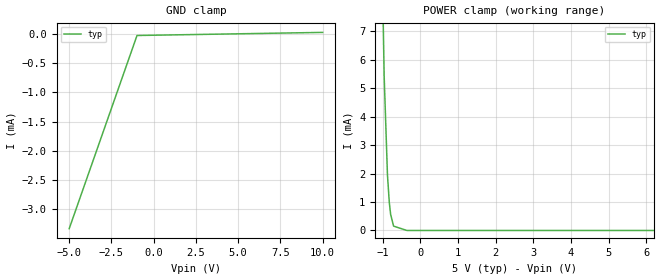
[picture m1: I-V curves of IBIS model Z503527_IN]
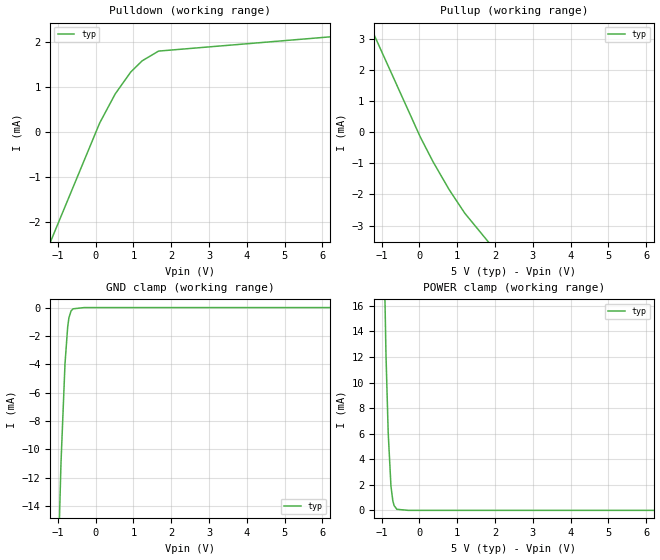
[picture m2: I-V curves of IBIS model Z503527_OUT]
| YOU ARE ONLY AUTHORIZED TO USE THIS SOFTWARE
| ACCORDING TO LICENSOR'S LICENSE RESTRICTIONS.
[IBIS Ver] 3.1
[File Name] mc14042bcl.ibs
[File Rev] 2.0
[Source] Measured and created by ICX Technology
[Date] Friday 7/14/00 9:07:52 AM
[Copyright]
| (C) COPYRIGHT 1993-2000
| MENTOR GRAPHICS CORPORATION
| ICX STANDARD LIBRARY, ICX PROJECT MODELING,
| ICX CUSTOM MODELING, ICX VENDOR MODEL
| ALL RIGHTS RESERVED.
| THE FOLLOWING ARE TRADEMARKS OR SERVICE MARKS OF
| MENTOR GRAPHICS CORPORATION:ICX (R), ICX STANDARD
| LIBRARY(R), ICX PROJECT MODELING(R), ICX CUSTOM
| MODELING(R), qualityIBIS(TM), MODELVIEWER(TM),
| AND MODELEDITOR(TM)
| ALL COPIES OF SOFTWARE, INCLUDING BUT NOT LIMITED TO
| ANY MODIFICATIONS, ENHANCEMENTS OR DERIVATIVE WORKS,
| MUST CONTAIN ALL MENTOR GRAPHICS CORPORATION'S
| NOTICES AND LEGENDS, INCLUDING THOSE EMBEDDED IN
| SOFTWARE AND THOSE AFFIXED TO SOFTWARE MEDIUM
| AND CONTAINER, AS RECEIVED FROM MENTOR GRAPHICS
| CORPORATION.
|  ZAP Model Builder 2.7
[Component] MC14042BCL
[Manufacturer] OnSemiconductor
[Package]
| variable   typ   min   max
R_pkg  .212ohms NA NA
L_pkg  4.758nH NA NA
C_pkg  1.944pF NA NA
[Pin] signal_name  model_name  R_pin  L_pin C_pin
1 Q3 Z503527_OUT .224 7.258n 2.683p
2 Q0 Z503527_OUT .216 5.258n 2.19p
3 _Q0 Z503527_OUT .208 3.758n 1.697p
4 D0 Z503527_IN .2 2.758n 1.204p
5 CLK Z503527_IN .2 2.758n 1.204p
6 PARITY Z503527_IN .208 3.758n 1.697p
7 D1 Z503527_IN .216 5.258n 2.19p
8 VSS GND .224 7.258n 2.683p
9 _Q1 Z503527_OUT .224 7.258n 2.683p
10 Q1 Z503527_OUT .216 5.258n 2.19p
11 Q2 Z503527_OUT .208 3.758n 1.697p
12 _Q2 Z503527_OUT .2 2.758n 1.204p
13 D2 Z503527_IN .2 2.758n 1.204p
14 D3 Z503527_IN .208 3.758n 1.697p
15 _Q3 Z503527_OUT .216 5.258n 2.19p
16 VDD POWER .224 7.258n 2.683p
| Models and submodels in the file (2): Z503527_IN (Input), Z503527_OUT (Output)
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| (C) COPYRIGHT 1993-2000
| MENTOR GRAPHICS CORPORATION
| ICX STANDARD LIBRARY, ICX PROJECT MODELING,
| ICX CUSTOM MODELING, ICX VENDOR MODEL
| ALL RIGHTS RESERVED.
| THE FOLLOWING ARE TRADEMARKS OR SERVICE MARKS OF
| MENTOR GRAPHICS CORPORATION:ICX (R), ICX STANDARD
| LIBRARY(R), ICX PROJECT MODELING(R), ICX CUSTOM
| MODELING(R), qualityIBIS(TM), MODELVIEWER(TM),
| AND MODELEDITOR(TM)
| ALL COPIES OF SOFTWARE, INCLUDING BUT NOT LIMITED TO
| ANY MODIFICATIONS, ENHANCEMENTS OR DERIVATIVE WORKS,
| MUST CONTAIN ALL MENTOR GRAPHICS CORPORATION'S
| NOTICES AND LEGENDS, INCLUDING THOSE EMBEDDED IN
| SOFTWARE AND THOSE AFFIXED TO SOFTWARE MEDIUM
| AND CONTAINER, AS RECEIVED FROM MENTOR GRAPHICS
| CORPORATION.
| Model Application Version 1.89 2/18/99.
[Model] Z503527_IN
Model_type Input
Vinl = 1.500V
Vinh = 3.500V
C_comp 4.000pF NA NA
| variable typ   min   max
[Voltage Range] 5.000V NA NA
[GND Clamp Reference] 0.000V NA NA
[POWER Clamp Reference] 5.000V NA NA
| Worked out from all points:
|   POWER clamp passes 1 mA (typ) near -0.82 V on its own axis
[GND Clamp]
-5V       -3.33mA    NA         NA
-986mV    -26.24uA   NA         NA
10V       26.74uA    NA         NA
[POWER Clamp]
-5V       571.5mA    NA         NA
-1.24V    32.36mA    NA         NA
-1.07V    13.78mA    NA         NA
-956mV    5.399mA    NA         NA
-869mV    1.95mA     NA         NA
-820mV    976.7uA    NA         NA
-785mV    566.3uA    NA         NA
-707mV    153.9uA    NA         NA
-353.5mV  0A         NA         NA
10V       0A         NA         NA
| (C) COPYRIGHT 1993-2000
| MENTOR GRAPHICS CORPORATION
| ICX STANDARD LIBRARY, ICX PROJECT MODELING,
| ICX CUSTOM MODELING, ICX VENDOR MODEL
| ALL RIGHTS RESERVED.
| THE FOLLOWING ARE TRADEMARKS OR SERVICE MARKS OF
| MENTOR GRAPHICS CORPORATION:ICX (R), ICX STANDARD
| LIBRARY(R), ICX PROJECT MODELING(R), ICX CUSTOM
| MODELING(R), qualityIBIS(TM), MODELVIEWER(TM),
| AND MODELEDITOR(TM)
| ALL COPIES OF SOFTWARE, INCLUDING BUT NOT LIMITED TO
| ANY MODIFICATIONS, ENHANCEMENTS OR DERIVATIVE WORKS,
| MUST CONTAIN ALL MENTOR GRAPHICS CORPORATION'S
| NOTICES AND LEGENDS, INCLUDING THOSE EMBEDDED IN
| SOFTWARE AND THOSE AFFIXED TO SOFTWARE MEDIUM
| AND CONTAINER, AS RECEIVED FROM MENTOR GRAPHICS
| CORPORATION.
| Model Application Version 1.89 2/18/99.
[Model] Z503527_OUT
Model_type Output
Vref=0.000V
Rref=500.0Mohms
Cref=50.00pF
Vmeas=2.500V
C_comp 8.000pF NA NA
| variable typ   min   max
[Voltage Range] 5.000V NA NA
[POWER Clamp Reference] 5.000V NA NA
[Pullup Reference] 5.000V NA NA
[Pulldown Reference] 0.000V NA NA
[GND Clamp Reference] 0.000V NA NA
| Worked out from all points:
|   slope of the pulldown table from 0 to 0.75 V, typ, clamps not added: 661 ohm
|   slope of the pullup table from 0 to 0.75 V, typ, clamps not added: 448 ohm
|   GND clamp passes 1 mA (typ) near -0.72 V on its own axis
|   POWER clamp passes 1 mA (typ) near -0.71 V on its own axis
[GND Clamp]
-5V       -407.5mA   NA         NA
-917.2mV  -11.01mA   NA         NA
-810.5mV  -3.969mA   NA         NA
-740.4mV  -1.391mA   NA         NA
-708mV    -734.3uA   NA         NA
-649.6mV  -233.5uA   NA         NA
-595.7mV  -87.57uA   NA         NA
-297.9mV  0A         NA         NA
10V       0A         NA         NA
[Pulldown]
-5V       -10.13mA   NA         NA
105.9mV   199.5uA    NA         NA
517.6mV   845.6uA    NA         NA
929.7mV   1.332mA    NA         NA
1.23V     1.579mA    NA         NA
1.665V    1.795mA    NA         NA
10V       2.375mA    NA         NA
[Pullup]
-5V       13.31mA    NA         NA
24mV      -158.1uA   NA         NA
358mV     -944.1uA   NA         NA
786mV     -1.842mA   NA         NA
1.198V    -2.597mA   NA         NA
10V       -15.59mA   NA         NA
[POWER Clamp]
-5V       672mA      NA         NA
-884mV    12.21mA    NA         NA
-825mV    6.066mA    NA         NA
-752mV    1.896mA    NA         NA
-703mV    760.3uA    NA         NA
-669mV    376.5uA    NA         NA
-596mV    83.15uA    NA         NA
-298mV    0A         NA         NA
10V       0A         NA         NA
[Ramp]
| variable typ min max
dV/dt_r 2.562/12.92n NA NA
dV/dt_f 2.562/15.52n NA NA
R_load = 2.500kOhms
